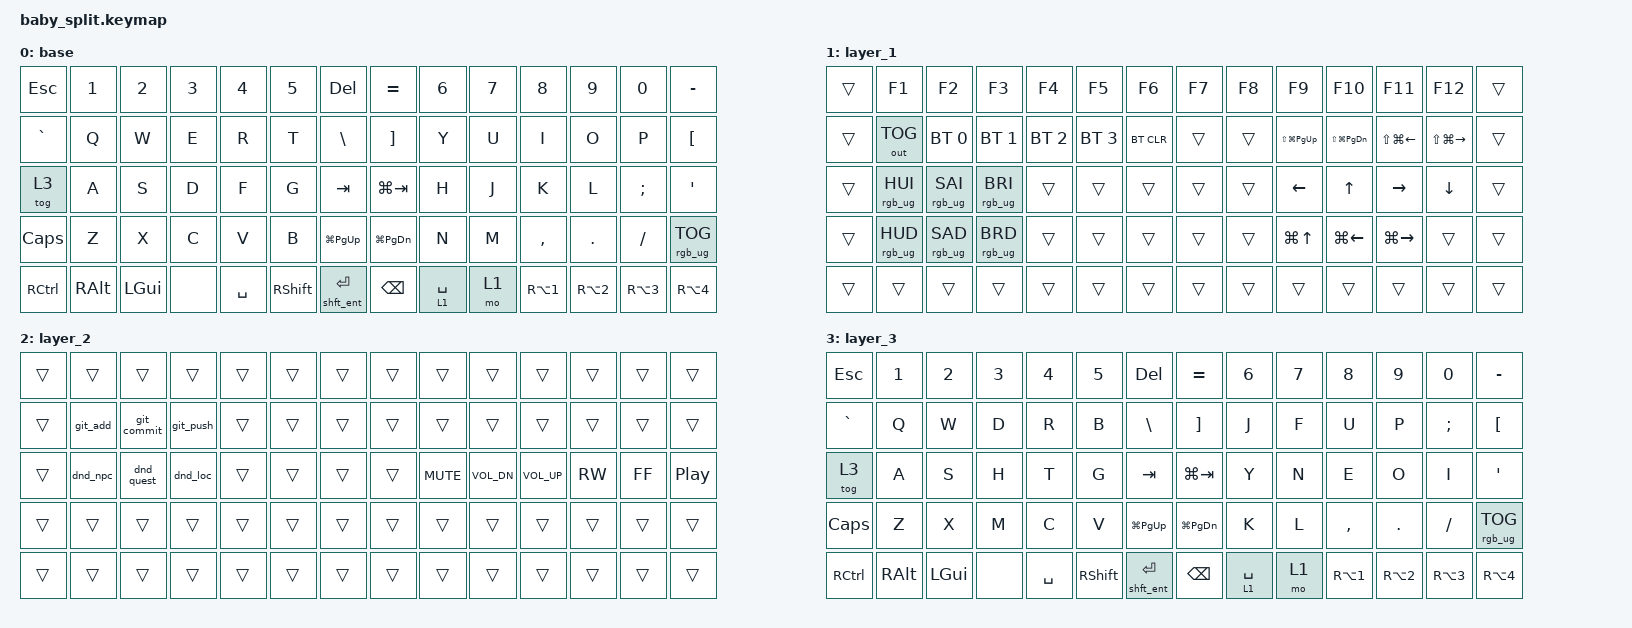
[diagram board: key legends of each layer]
#include <dt-bindings/zmk/keys.h>
#include <dt-bindings/zmk/outputs.h>
#include <behaviors.dtsi>
#include <dt-bindings/zmk/bt.h>
#include <dt-bindings/zmk/rgb.h>
#include <dt-bindings/led/led.h>
/*defines colors for base layer */
#define LED_BLUE  240 100 50    // Numeric
#define LED_GREEN 120 100 50 // Alpha
#define LED_PURP  280 100 50 // Combos
#define LED_YEL   60 100 50  // Nav/Space
#define LED_ORNG  30 100 50  // Mo keys


/{
  behaviors{
    // allows for diffrent keys on press vs on tap
    mt: custom_mod_tap {
        compatible = "zmk,behavior-hold-tap";
        #binding-cells = <2>;
        flavor = "tap-preferred";
        // ammount of time untill classified as a press 
        tapping-term-ms = <200>;
        // When taping twice quickly ignores hold for second press
        // increase when cant press key fast engough quick-tap-ms = <125>;
        quick-tap-ms = <125>;
        bindings = <&kp>, <&kp>;
    };
    //Allows the shft_ent Macro to be run on hold vs on tap
    ent_mt: enter_mod_tap{
        compatible = "zmk,behavior-hold-tap";
        #binding-cells = <2>;
        flavor = "tap-preferred";
        // ammount of time untill classified as a press 
        tapping-term-ms = <200>;
        // When taping twice quickly ignores hold for second press
        // increase when cant press key fast engough quick-tap-ms = <125>;
        bindings = <&shft_ent>, <&kp>;
    };
    // allows for capitalizing untill space pressed
    caps_word: caps_word{
        compatible = "zmk,behavior-caps-word";
        #binding-cells = <0>;
        continue-list = <UNDERSCORE MINUS BSPC>; 
    };
  };

  macros{
    // Triggers the Alt+Shift+N hotkey in Obsidian
    dnd_npc: dnd_npc {
        compatible = "zmk,behavior-macro";
        #binding-cells = <0>;
        bindings = <&kp LA(LS(N))>; 
    };
    // Triggers the Alt+Shift+L hotkey in Obsidian
    dnd_loc: dnd_loc {
        compatible = "zmk,behavior-macro";
        #binding-cells = <0>;
        bindings = <&kp LA(LS(L))>; 
    };

    // Triggers the Alt+Shift+Q hotkey in Obsidian
    dnd_quest: dnd_quest {
        compatible = "zmk,behavior-macro";
        #binding-cells = <0>;
        bindings = <&kp LA(LS(Q))>;
    };
    // macro where when shift is held enters SHFT+ENTR
    // used in text fields where enter submits text
    shft_ent: shft_ent{
            compatible = "zmk,behavior-macro";
            #binding-cells = <0>;
            bindings = <&macro_press &kp LSHFT>
              , <&macro_tap &kp RET>
              , <&macro_release &kp LSHFT>;
    };
     // macros for common git commands
    git_add: git_add {
        compatible = "zmk,behavior-macro";
        #binding-cells = <0>;
        bindings = <&kp G &kp I &kp T &kp SPACE &kp A &kp D &kp D &kp SPACE &kp DOT &kp RET>;
    };
    git_commit: git_commit {
       compatible = "zmk,behavior-macro";
       #binding-cells = <0>;
       bindings = <&kp G &kp I &kp T &kp SPACE &kp C &kp O &kp M &kp M &kp I &kp T &kp SPACE &kp MINUS &kp M &kp SPACE &kp DQT &kp DQT &kp LEFT>;
    };
    git_push: git_push {
       compatible = "zmk,behavior-macro";
       #binding-cells = <0>;
       bindings = <&kp G &kp I &kp T &kp SPACE &kp P &kp U &kp S &kp H &kp RET>;
    };
  };
};


&pinctrl{
  // sets the pin used to controll the RGB
  spi3_default: spi3_default{
    group1{
      psels = <NRF_PSEL(SPIM_MOSI, 0, 17)>;
    };
  };

  spi3_sleep: spi3_sleep{
    group1 {
      psels = <NRF_PSEL(SPIM_MOSI, 0, 17)>;
    };
  };
};

&spi3 {
    compatible = "nordic,nrf-spim";
    status = "okay";
    pinctrl-0 = <&spi3_default>;
    pinctrl-1 = <&spi3_sleep>;
    pinctrl-names = "default", "sleep";

    led_strip: sk6812@0 {
        compatible = "worldsemi,ws2812-spi";
        /*label = "SK6812";*/

        reg = <0>; 
        spi-max-frequency = <4000000>;

        /* SK6812 Mini-E specific timing */
        chain-length = <35>; 
        spi-one-frame = <0x70>;
        spi-zero-frame = <0x40>;
        color-mapping = <LED_COLOR_ID_GREEN LED_COLOR_ID_RED LED_COLOR_ID_BLUE>;
    };
};


 / {
    chosen { zmk,underglow = &led_strip; };
 };
/*===== Keymap ====*/
/ {
    chosen{
        zmk,underglow = &led_strip;
    };

    keymap {
        compatible = "zmk,keymap";
        /* --------------------- BASE LAYER --------------------- */
        base {
            bindings = <
                /* Row 0: Numbers across top */
                &kp ESC      &kp N1   &kp N2   &kp N3   &kp N4   &kp N5    &kp DEL        &kp EQUAL     &kp N6      &kp N7    &kp N8      &kp N9      &kp N0      &kp MINUS
                /* Row 1 */
                &kp GRAVE    &kp Q    &kp W    &kp E    &kp R    &kp T     &kp BSLH       &kp RBKT      &kp Y       &kp U     &kp I       &kp O       &kp P       &kp LBKT
                /* Row 2                                                                  :Switch Apps*/
                &tog 3       &kp A    &kp S    &kp D    &kp F    &kp G     &kp TAB        &kp LG(TAB)   &kp H       &kp J     &kp K       &kp L       &kp SEMI    &kp SQT
                /* Row 3                                                   Worksp Left    Worksp Right*/
                &kp CAPS     &kp Z    &kp X    &kp C    &kp V    &kp B     &kp LG(PG_UP)  &kp LG(PG_DN) &kp N       &kp M     &kp COMMA   &kp DOT     &kp SLASH   &rgb_ug RGB_TOG
                /* Row 4                                                   tap ent mt shft+ent          tap spc mt L1*/
                &kp RCTRL    &kp RALT &kp LGUI &none    &kp SPACE &kp RSHFT &ent_mt 0 RET &kp BSPC      &lt 1 SPACE &mo 1     &kp RA(N1)  &kp RA(N2)  &kp RA(N3)  &kp RA(N4)
            >;
        };
        /* --------------------- LAYER 1: Function / BT / Navigation --------------------- */
        layer_1 {
            bindings = <
                /* Row 0 */
                &trans &kp F1          &kp F2          &kp F3          &kp F4       &kp F5       &kp F6     &kp F7   &kp F8     &kp F9             &kp F10          &kp F11           &kp F12           &trans
                /* Row 1                                                                                                        Mv Win WKSP LFT    Mv Win WKSP RGHT  Mv Win MTR LFT   MV Win MTR RGHT*/
                &trans &out OUT_TOG    &bt BT_SEL 0    &bt BT_SEL 1    &bt BT_SEL 2 &bt BT_SEL 3 &bt BT_CLR &trans   &trans     &kp LS(LG(PG_UP))  &kp LS(LG(PG_DN)) &kp LS(LG(LEFT)) &kp LS(LG(RIGHT)) &trans
                /* Row 2 */
                &trans &rgb_ug RGB_HUI &rgb_ug RGB_SAI &rgb_ug RGB_BRI &trans       &trans       &trans     &trans   &trans     &kp LEFT           &kp UP            &kp RIGHT        &kp DOWN          &trans
                /* Row 3                                                                                                        Full screen app    snap app left     snap app right*/
                &trans &rgb_ug RGB_HUD &rgb_ug RGB_SAD &rgb_ug RGB_BRD &trans       &trans       &trans     &trans   &trans     &kp LG(UP)         &kp LG(LEFT)      &kp LG(RIGHT)    &trans            &trans
                /* Row 4 */
                &trans &trans          &trans          &trans          &trans       &trans       &trans     &trans   &trans     &trans             &trans            &trans           &trans            &trans
            >;
        };
        /* --------------------- LAYER 2: Git macros / Media Controll --------------------- */
        layer_2 {
            bindings = <
                &trans &trans       &trans       &trans       &trans       &trans       &trans &trans   &trans     &trans            &trans            &trans           &trans            &trans
                &trans &git_add     &git_commit  &git_push    &trans       &trans       &trans &trans   &trans     &trans            &trans            &trans           &trans            &trans
                &trans &dnd_npc     &dnd_quest   &dnd_loc     &trans       &trans       &trans &trans   &kp C_MUTE &kp C_VOL_DN      &kp C_VOL_UP      &kp C_RW         &kp C_FF          &kp C_PP
                &trans &trans       &trans       &trans       &trans       &trans       &trans &trans   &trans     &trans            &trans            &trans           &trans            &trans
                &trans &trans       &trans       &trans       &trans       &trans       &trans &trans   &trans     &trans            &trans            &trans           &trans            &trans
            >;
        };
        layer_3{
          bindings = <
                /* Workman layer_3 */
                &kp ESC      &kp N1   &kp N2   &kp N3   &kp N4   &kp N5    &kp DEL        &kp EQUAL     &kp N6      &kp N7    &kp N8      &kp N9      &kp N0      &kp MINUS
                /* Row 1 */
                &kp GRAVE    &kp Q    &kp W    &kp D    &kp R   &kp B      &kp BSLH       &kp RBKT      &kp J       &kp F     &kp U       &kp P       &kp SEMI    &kp LBKT
                /* Row 2                                                                  :Switch Apps*/
                &tog 3       &kp A    &kp S    &kp H    &kp T    &kp G     &kp TAB        &kp LG(TAB)   &kp Y       &kp N     &kp E       &kp O       &kp I       &kp SQT
                /* Row 3                                                   Worksp Left    Worksp Right*/
                &kp CAPS     &kp Z    &kp X    &kp M    &kp C    &kp V     &kp LG(PG_UP)  &kp LG(PG_DN) &kp K       &kp L     &kp COMMA   &kp DOT     &kp SLASH   &rgb_ug RGB_TOG
                /* Row 4                                                   tap ent mt shft+ent          tap spc mt L1*/
                &kp RCTRL    &kp RALT &kp LGUI &none    &kp SPACE &kp RSHFT &ent_mt 0 RET &kp BSPC      &lt 1 SPACE &mo 1     &kp RA(N1)  &kp RA(N2)  &kp RA(N3)  &kp RA(N4)
          >;

        };
    };
};


